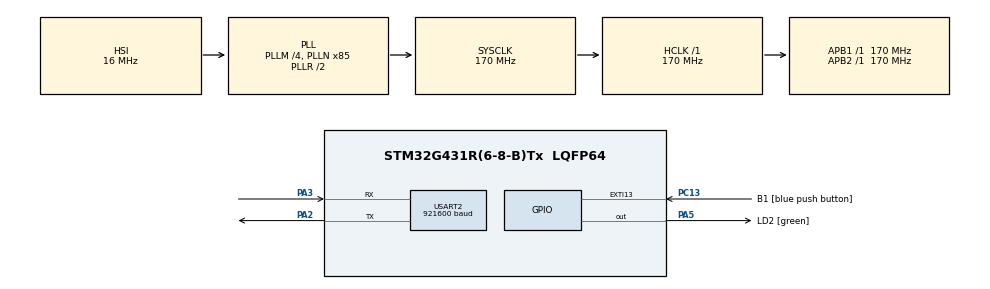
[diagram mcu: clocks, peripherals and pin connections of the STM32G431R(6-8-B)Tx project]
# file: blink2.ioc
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Mcu.Family=STM32G4
Mcu.Name=STM32G431R(6-8-B)Tx
Mcu.Package=LQFP64
NVIC.PriorityGroup=NVIC_PRIORITYGROUP_4
NVIC.USART2_IRQn=true\:0\:0\:false\:false\:true\:true\:true\:true
PA13.GPIO_Label=T_SWDIO
PA13.Signal=SYS_JTMS-SWDIO
PA14.GPIO_Label=T_SWCLK
PA14.Signal=SYS_JTCK-SWCLK
PA2.Mode=Asynchronous
PA2.Signal=USART2_TX
PA3.Mode=Asynchronous
PA3.Signal=USART2_RX
PA5.GPIO_Label=LD2 [green]
PA5.Signal=GPIO_Output
PB3.GPIO_Label=T_SWO
PB3.Signal=SYS_JTDO-SWO
PC13.GPIO_Label=B1 [blue push button]
PC13.Signal=GPXTI13
PC14-OSC32_IN.GPIO_Label=RCC_OSC32_OUT
PC14-OSC32_IN.Signal=RCC_OSC32_IN
PC15-OSC32_OUT.GPIO_Label=RCC_OSC32_OUT
PC15-OSC32_OUT.Signal=RCC_OSC32_OUT
PF0-OSC_IN.GPIO_Label=RCC_OSC_IN
PF0-OSC_IN.Signal=RCC_OSC_IN
PF1-OSC_OUT.GPIO_Label=RCC_OSC_OUT
PF1-OSC_OUT.Signal=RCC_OSC_OUT
ProjectManager.HeapSize=0x200
ProjectManager.StackSize=0x400
ProjectManager.TargetToolchain=STM32CubeIDE
RCC.ADC12Freq_Value=170000000
RCC.AHBFreq_Value=170000000
RCC.APB1Freq_Value=170000000
RCC.APB1TimFreq_Value=170000000
RCC.APB2Freq_Value=170000000
RCC.APB2TimFreq_Value=170000000
RCC.CortexFreq_Value=170000000
RCC.EXTERNAL_CLOCK_VALUE=12288000
RCC.HCLKFreq_Value=170000000
RCC.HSE_VALUE=24000000
RCC.HSI48_VALUE=48000000
RCC.HSI_VALUE=16000000
RCC.LSE_VALUE=32768
RCC.PLLM=RCC_PLLM_DIV4
RCC.PLLN=85
RCC.RTCClockSelection=RCC_RTCCLKSOURCE_LSE
RCC.SYSCLKFreq_VALUE=170000000
RCC.SYSCLKSource=RCC_SYSCLKSOURCE_PLLCLK
RCC.USBFreq_Value=170000000
RCC.VCOOutputFreq_Value=340000000
USART2.BaudRate=921600
USART2.VirtualMode-Asynchronous=VM_ASYNC
VP_SYS_VS_DBSignals.Mode=DisableDeadBatterySignals
board=NUCLEO-G431RB

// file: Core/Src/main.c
/* USER CODE BEGIN Header */
/**
  ******************************************************************************
  * @file           : main.c
  * @brief          : Main program body
  ******************************************************************************
  * @attention
  *
  * Copyright (c) 2025 STMicroelectronics.
  * All rights reserved.
  *
  * This software is licensed under terms that can be found in the LICENSE file
  * in the root directory of this software component.
  * If no LICENSE file comes with this software, it is provided AS-IS.
  *
  ******************************************************************************
  */
/* USER CODE END Header */
#include "main.h"

/* USER CODE BEGIN Includes */
#include <stdio.h>
/* USER CODE END Includes */

UART_HandleTypeDef huart2;

void SystemClock_Config(void);
static void MX_GPIO_Init(void);
static void MX_USART2_UART_Init(void);

/* USER CODE BEGIN 0 */

// Send printf to uart1
int _write(int fd, char* ptr, int len) {
  HAL_StatusTypeDef hstatus;

  if (fd == 1 || fd == 2) {
    hstatus = HAL_UART_Transmit(&huart2, (uint8_t *) ptr, len, HAL_MAX_DELAY);
    if (hstatus == HAL_OK)
      return len;
    else
      return -1;
  }
  return -1;
}

/* USER CODE END 0 */

int main(void)
{

  /* MCU Configuration--------------------------------------------------------*/

  /* Reset of all peripherals, Initializes the Flash interface and the Systick. */
  HAL_Init();

  /* Configure the system clock */
  SystemClock_Config();

  /* Initialize all configured peripherals */
  MX_GPIO_Init();
  MX_USART2_UART_Init();
  /* USER CODE BEGIN 2 */

  printf("Blink2 Starting \n");

  /* USER CODE END 2 */

  /* Infinite loop */
  /* USER CODE BEGIN WHILE */

  uint32_t now = 0;
  uint32_t last_blink = 0;
  uint32_t last_tick = 0;
  uint32_t loop_cnt = 0;

  while (1)
  {
	  now = HAL_GetTick();

	  if(now - last_blink >= 500)
	  {
		  printf("Toggling GPIO\n");

		  HAL_GPIO_TogglePin(GPIOA, GPIO_PIN_5);

		  last_blink = now;
	  }

	  if(now - last_tick >= 1000)
	  {
		  printf("Tick %lu (loop count = %lu)\n", now / 1000, loop_cnt);

		  loop_cnt = 0;
		  last_tick = now;
	  }

	  ++loop_cnt;

    /* USER CODE END WHILE */

  }
}

void SystemClock_Config(void)
{
  RCC_OscInitTypeDef RCC_OscInitStruct = {0};
  RCC_ClkInitTypeDef RCC_ClkInitStruct = {0};

  /** Configure the main internal regulator output voltage
  */
  HAL_PWREx_ControlVoltageScaling(PWR_REGULATOR_VOLTAGE_SCALE1_BOOST);

  /** Initializes the RCC Oscillators according to the specified parameters
  * in the RCC_OscInitTypeDef structure.
  */
  RCC_OscInitStruct.OscillatorType = RCC_OSCILLATORTYPE_HSI;
  RCC_OscInitStruct.HSIState = RCC_HSI_ON;
  RCC_OscInitStruct.HSICalibrationValue = RCC_HSICALIBRATION_DEFAULT;
  RCC_OscInitStruct.PLL.PLLState = RCC_PLL_ON;
  RCC_OscInitStruct.PLL.PLLSource = RCC_PLLSOURCE_HSI;
  RCC_OscInitStruct.PLL.PLLM = RCC_PLLM_DIV4;
  RCC_OscInitStruct.PLL.PLLN = 85;
  RCC_OscInitStruct.PLL.PLLP = RCC_PLLP_DIV2;
  RCC_OscInitStruct.PLL.PLLQ = RCC_PLLQ_DIV2;
  RCC_OscInitStruct.PLL.PLLR = RCC_PLLR_DIV2;
  if (HAL_RCC_OscConfig(&RCC_OscInitStruct) != HAL_OK)
  {
    Error_Handler();
  }

  /** Initializes the CPU, AHB and APB buses clocks
  */
  RCC_ClkInitStruct.ClockType = RCC_CLOCKTYPE_HCLK|RCC_CLOCKTYPE_SYSCLK
                              |RCC_CLOCKTYPE_PCLK1|RCC_CLOCKTYPE_PCLK2;
  RCC_ClkInitStruct.SYSCLKSource = RCC_SYSCLKSOURCE_PLLCLK;
  RCC_ClkInitStruct.AHBCLKDivider = RCC_SYSCLK_DIV1;
  RCC_ClkInitStruct.APB1CLKDivider = RCC_HCLK_DIV1;
  RCC_ClkInitStruct.APB2CLKDivider = RCC_HCLK_DIV1;

  if (HAL_RCC_ClockConfig(&RCC_ClkInitStruct, FLASH_LATENCY_4) != HAL_OK)
  {
    Error_Handler();
  }
}

static void MX_USART2_UART_Init(void)
{

  huart2.Instance = USART2;
  huart2.Init.BaudRate = 921600;
  huart2.Init.WordLength = UART_WORDLENGTH_8B;
  huart2.Init.StopBits = UART_STOPBITS_1;
  huart2.Init.Parity = UART_PARITY_NONE;
  huart2.Init.Mode = UART_MODE_TX_RX;
  huart2.Init.HwFlowCtl = UART_HWCONTROL_NONE;
  huart2.Init.OverSampling = UART_OVERSAMPLING_16;
  huart2.Init.OneBitSampling = UART_ONE_BIT_SAMPLE_DISABLE;
  huart2.Init.ClockPrescaler = UART_PRESCALER_DIV1;
  huart2.AdvancedInit.AdvFeatureInit = UART_ADVFEATURE_NO_INIT;
  if (HAL_UART_Init(&huart2) != HAL_OK)
  {
    Error_Handler();
  }
  if (HAL_UARTEx_SetTxFifoThreshold(&huart2, UART_TXFIFO_THRESHOLD_1_8) != HAL_OK)
  {
    Error_Handler();
  }
  if (HAL_UARTEx_SetRxFifoThreshold(&huart2, UART_RXFIFO_THRESHOLD_1_8) != HAL_OK)
  {
    Error_Handler();
  }
  if (HAL_UARTEx_DisableFifoMode(&huart2) != HAL_OK)
  {
    Error_Handler();
  }

}

static void MX_GPIO_Init(void)
{
  GPIO_InitTypeDef GPIO_InitStruct = {0};

  /* GPIO Ports Clock Enable */
  __HAL_RCC_GPIOC_CLK_ENABLE();
  __HAL_RCC_GPIOF_CLK_ENABLE();
  __HAL_RCC_GPIOA_CLK_ENABLE();
  __HAL_RCC_GPIOB_CLK_ENABLE();

  /*Configure GPIO pin Output Level */
  HAL_GPIO_WritePin(LD2_GPIO_Port, LD2_Pin, GPIO_PIN_RESET);

  /*Configure GPIO pin : B1_Pin */
  GPIO_InitStruct.Pin = B1_Pin;
  GPIO_InitStruct.Mode = GPIO_MODE_IT_RISING;
  GPIO_InitStruct.Pull = GPIO_NOPULL;
  HAL_GPIO_Init(B1_GPIO_Port, &GPIO_InitStruct);

  /*Configure GPIO pin : LD2_Pin */
  GPIO_InitStruct.Pin = LD2_Pin;
  GPIO_InitStruct.Mode = GPIO_MODE_OUTPUT_PP;
  GPIO_InitStruct.Pull = GPIO_NOPULL;
  GPIO_InitStruct.Speed = GPIO_SPEED_FREQ_LOW;
  HAL_GPIO_Init(LD2_GPIO_Port, &GPIO_InitStruct);

}

void Error_Handler(void)
{
  __disable_irq();
  while (1)
  {
  }
}
